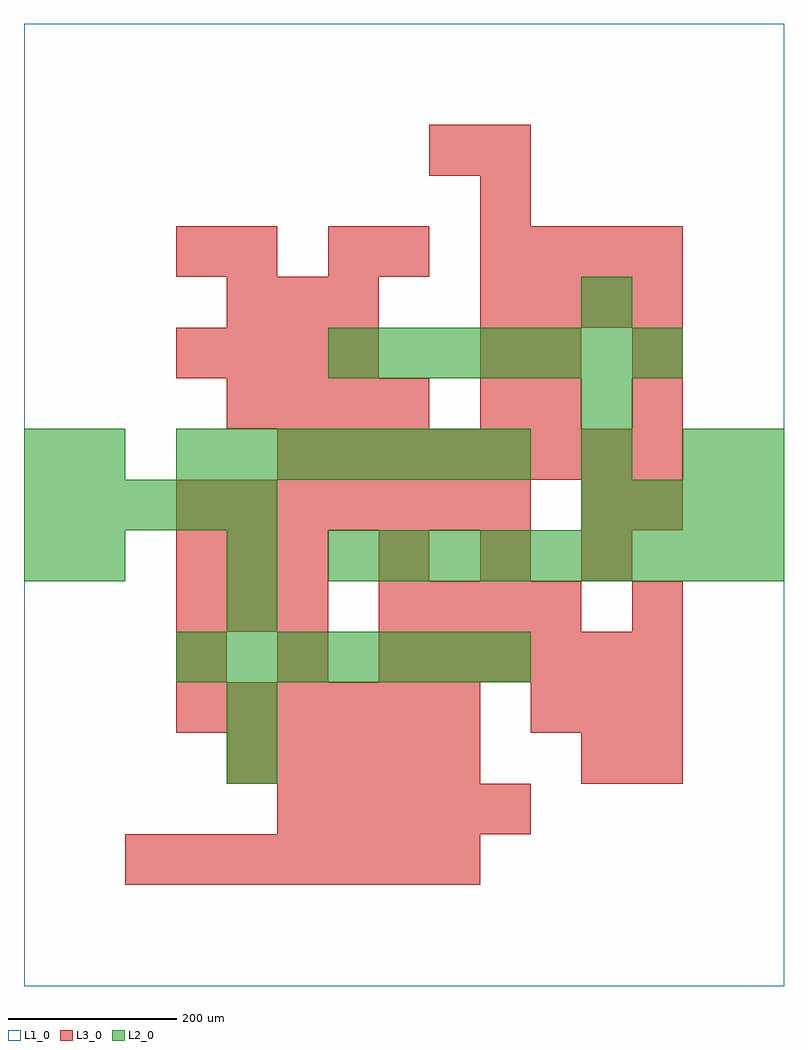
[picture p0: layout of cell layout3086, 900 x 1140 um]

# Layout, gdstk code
import gdstk
lib = gdstk.Library(unit=1e-6, precision=1e-09)
def R(c, l, rs):  # rectangles x0, y0, x1, y1
    for r in rs: c.add(gdstk.rectangle(r[:2], r[2:], *l))
def A(c, l, x, y, w, h, nx, ny, dx, dy):  # array of equal rectangles
    R(c, l, [(x+i*dx, y+j*dy, x+i*dx+w, y+j*dy+h) for i in range(nx) for j in range(ny)])
L1_0 = (1, 0)
L2_0 = (2, 0)
L3_0 = (3, 0)

layout3086 = lib.new_cell('layout3086')
R(layout3086, L1_0, [(0,0,900,1140)])
A(layout3086, L2_0, 180, 360, 60, 60, 7, 2, 60, 240)
A(layout3086, L2_0, 360, 480, 60, 60, 9, 1, 60, 0)
A(layout3086, L2_0, 0, 540, 60, 60, 5, 1, 60, 0)
A(layout3086, L2_0, 660, 540, 60, 60, 4, 1, 60, 0)
A(layout3086, L2_0, 360, 720, 60, 60, 7, 1, 60, 0)
R(layout3086, L2_0, [(240,240,300,300), (240,300,300,360), (240,420,300,480), (0,480,60,540), (60,480,120,540), (240,480,300,540), (0,600,60,660), (60,600,120,660), (660,600,720,660), (780,600,840,660), (840,600,900,660), (660,660,720,720), (660,780,720,840)])
A(layout3086, L3_0, 120, 120, 60, 60, 7, 1, 60, 0)
A(layout3086, L3_0, 300, 180, 60, 60, 5, 1, 60, 0)
A(layout3086, L3_0, 240, 240, 60, 60, 5, 1, 60, 0)
A(layout3086, L3_0, 180, 300, 60, 60, 6, 1, 60, 0)
A(layout3086, L3_0, 600, 300, 60, 60, 3, 1, 60, 0)
A(layout3086, L3_0, 180, 360, 60, 60, 3, 1, 120, 0)
A(layout3086, L3_0, 480, 360, 60, 60, 5, 1, 60, 0)
A(layout3086, L3_0, 180, 420, 60, 60, 3, 2, 60, 60)
A(layout3086, L3_0, 420, 420, 60, 60, 4, 1, 60, 0)
A(layout3086, L3_0, 720, 420, 60, 60, 1, 3, 0, 120)
A(layout3086, L3_0, 420, 480, 60, 60, 3, 1, 120, 0)
A(layout3086, L3_0, 180, 540, 60, 60, 7, 1, 60, 0)
A(layout3086, L3_0, 300, 600, 60, 60, 8, 1, 60, 0)
A(layout3086, L3_0, 240, 660, 60, 60, 4, 1, 60, 0)
A(layout3086, L3_0, 180, 720, 60, 60, 4, 1, 60, 0)
A(layout3086, L3_0, 240, 780, 60, 60, 3, 1, 60, 0)
A(layout3086, L3_0, 540, 780, 60, 60, 4, 2, 60, 60)
R(layout3086, L3_0, [(660,240,720,300), (720,240,780,300), (660,540,720,600), (540,660,600,720), (600,660,660,720), (540,720,600,780), (600,720,660,780), (720,720,780,780), (180,840,240,900), (240,840,300,900), (360,840,420,900), (420,840,480,900), (540,900,600,960), (480,960,540,1020), (540,960,600,1020)])

lib.write_gds('layout3086.gds')
